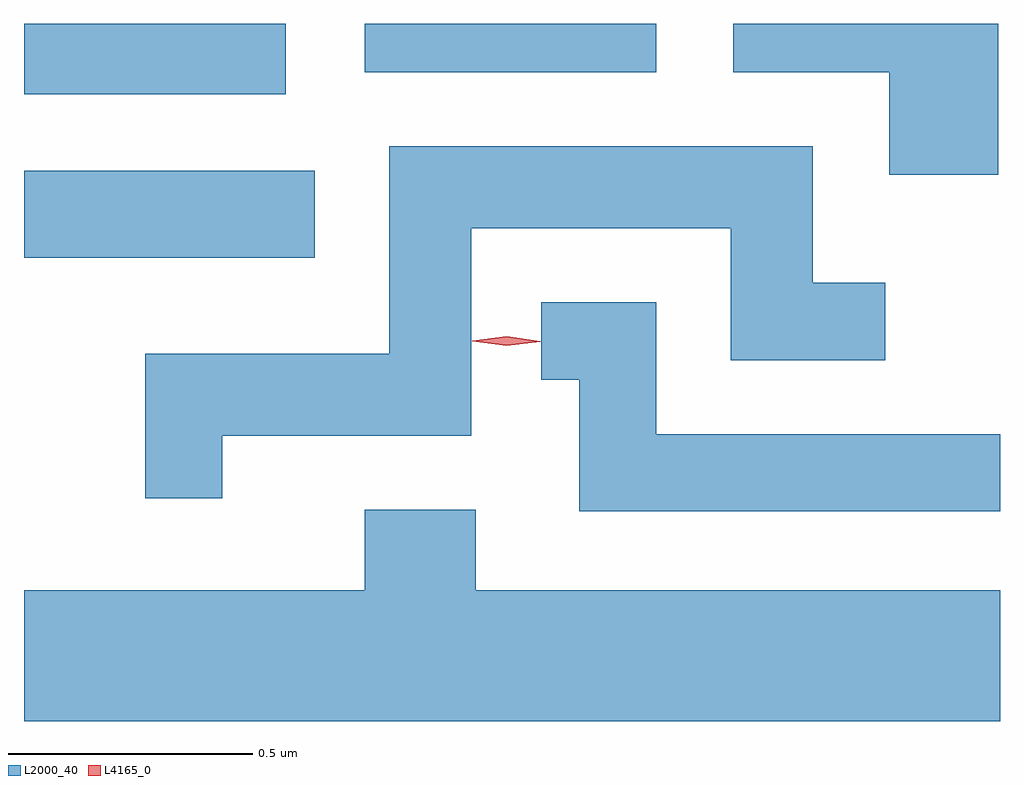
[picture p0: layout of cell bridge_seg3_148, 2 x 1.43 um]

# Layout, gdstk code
import gdstk
lib = gdstk.Library(unit=1e-6, precision=1e-09)
def R(c, l, rs):  # rectangles x0, y0, x1, y1
    for r in rs: c.add(gdstk.rectangle(r[:2], r[2:], *l))
def P(c, l, *ps):  # polygons
    for p in ps: c.add(gdstk.Polygon(p, *l))
L2000_40 = (2000, 40)
L4165_0 = (4165, 0)

bridge_seg3_148 = lib.new_cell('bridge_seg3_148')
R(bridge_seg3_148, L2000_40, [(760.303,1204.666,760.899,1204.844), (760.303,1205.001,760.839,1205.145), (761.001,1205.046,761.599,1205.145)])
P(bridge_seg3_148, L2000_40, [(762.299,1205.145),(761.756,1205.145),(761.756,1205.046),(762.076,1205.046),(762.076,1204.836),(762.299,1204.836)],
  [(760.709,1204.301),(761.219,1204.301),(761.219,1204.726),(761.751,1204.726),(761.751,1204.456),(762.068,1204.456),(762.068,1204.614),(761.919,1204.614),(761.919,1204.894),(761.051,1204.894),(761.051,1204.469),(760.551,1204.469),(760.551,1204.173),(760.709,1204.173)],
  [(762.303,1204.304),(761.599,1204.304),(761.599,1204.574),(761.363,1204.574),(761.363,1204.416),(761.441,1204.416),(761.441,1204.146),(762.303,1204.146)],
  [(762.303,1203.984),(761.229,1203.984),(761.229,1204.149),(761.001,1204.149),(761.001,1203.984),(760.303,1203.984),(760.303,1203.716),(762.303,1203.716)])
P(bridge_seg3_148, L4165_0, [(761.292,1204.485),(761.222,1204.495),(761.222,1204.495),(761.222,1204.496),(761.292,1204.505),(761.361,1204.495),(761.361,1204.495),(761.361,1204.494)])

lib.write_gds('bridge_seg3_148.gds')
